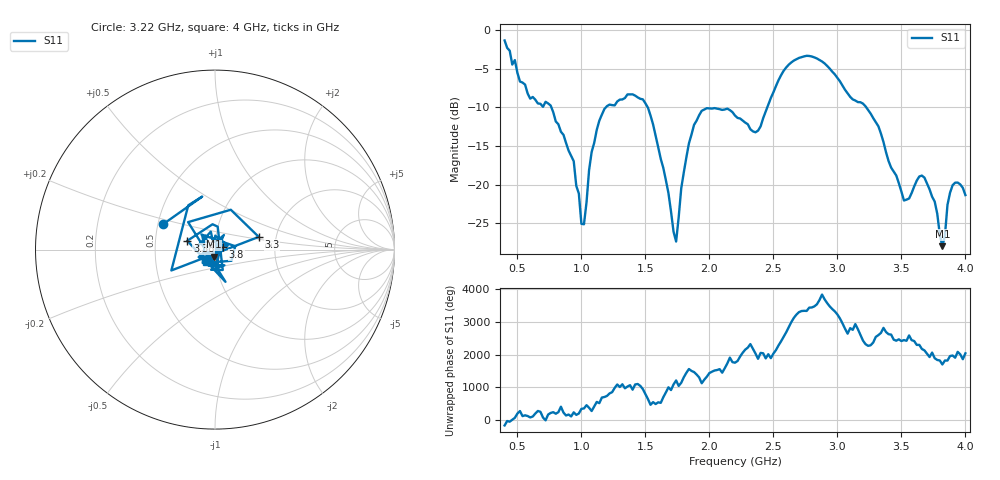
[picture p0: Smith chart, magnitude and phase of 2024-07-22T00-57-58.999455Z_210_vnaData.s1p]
!Created with skrf (http://scikit-rf.org).
# Hz S RI R 50.0
!freq ReS11 ImS11
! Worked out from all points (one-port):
!   181 points, 400 MHz to 4 GHz, reference 50 ohm
!   lowest |S11| = -28.0 dB at 3.82 GHz (marker M1), VSWR 1.08, Z = 49.1 - j3.84 ohm
!   |S11| at or under -10 dB: 765.5 MHz to 1.191 GHz (425.3 MHz wide, 43.5 % of centre); 1.519 GHz to 2.452 GHz (933.4 MHz wide, 47 % of centre); 3.226 GHz to end of sweep
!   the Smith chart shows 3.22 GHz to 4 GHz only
!   S11 on the Smith chart (normalised r, x): 3.22 GHz: 0.53, +0.17; 3.3 GHz: 1.62, +0.25; 3.38 GHz: 0.73, +0.07; 3.8 GHz: 1.09, +0.03; 4 GHz: 0.90, -0.13
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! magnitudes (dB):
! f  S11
! 400 MHz  -1.3
! 600 MHz  -8.9
! 760 MHz  -9.8
! 860 MHz  -13.6
! 940 MHz  -17.0
! 1.02 GHz  -25.1
! 1.08 GHz  -15.8
! 1.14 GHz  -11.7
! 1.3 GHz  -9.0
! 1.52 GHz  -10.0
! 1.74 GHz  -27.4
! 1.76 GHz  -24.2
! 1.84 GHz  -14.7
! 1.92 GHz  -11.0
! 2.2 GHz  -11.1
! 2.38 GHz  -13.0
! 2.66 GHz  -3.9
! 2.88 GHz  -4.1
! 3.1 GHz  -8.6
! 3.22 GHz  -9.9
! 3.3 GHz  -11.9
! 3.38 GHz  -15.8
! 3.56 GHz  -21.8
! 3.68 GHz  -19.1
! 3.8 GHz  -26.5
! 3.82 GHz  -28.0
! 3.9 GHz  -20.1
! 4 GHz  -21.4
